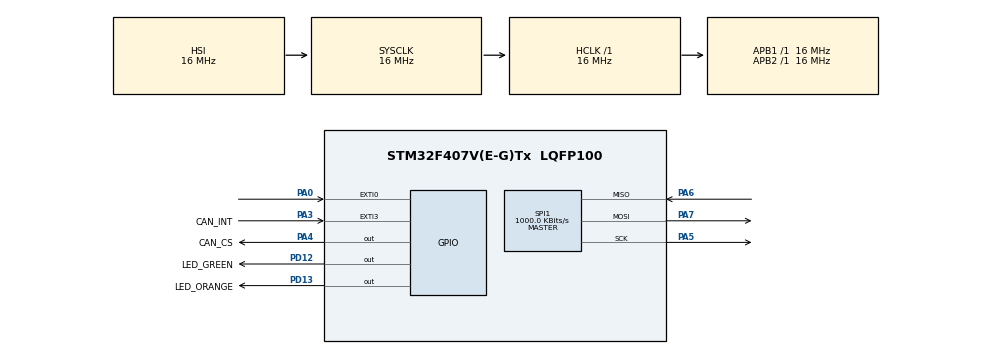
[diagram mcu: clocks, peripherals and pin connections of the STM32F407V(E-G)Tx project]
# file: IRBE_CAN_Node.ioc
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Mcu.Family=STM32F4
Mcu.Name=STM32F407V(E-G)Tx
Mcu.Package=LQFP100
NVIC.EXTI0_IRQn=true\:2\:0\:true\:false\:true\:true\:true\:true
NVIC.EXTI3_IRQn=true\:3\:0\:true\:false\:true\:true\:true\:true
NVIC.PriorityGroup=NVIC_PRIORITYGROUP_4
PA0-WKUP.GPIO_ModeDefaultEXTI=GPIO_MODE_IT_FALLING
PA0-WKUP.GPIO_PuPd=GPIO_PULLUP
PA0-WKUP.Signal=GPXTI0
PA13.Mode=Serial_Wire
PA13.Signal=SYS_JTMS-SWDIO
PA14.Mode=Serial_Wire
PA14.Signal=SYS_JTCK-SWCLK
PA3.GPIO_Label=CAN_INT
PA3.Signal=GPXTI3
PA4.GPIO_Label=CAN_CS
PA4.PinState=GPIO_PIN_SET
PA4.Signal=GPIO_Output
PA5.Mode=Full_Duplex_Master
PA5.Signal=SPI1_SCK
PA6.Mode=Full_Duplex_Master
PA6.Signal=SPI1_MISO
PA7.Mode=Full_Duplex_Master
PA7.Signal=SPI1_MOSI
PD12.GPIO_Label=LED_GREEN
PD12.Signal=GPIO_Output
PD13.GPIO_Label=LED_ORANGE
PD13.Signal=GPIO_Output
PH0-OSC_IN.Mode=HSE-External-Oscillator
PH0-OSC_IN.Signal=RCC_OSC_IN
PH1-OSC_OUT.Mode=HSE-External-Oscillator
PH1-OSC_OUT.Signal=RCC_OSC_OUT
ProjectManager.HeapSize=0x200
ProjectManager.StackSize=0x400
ProjectManager.TargetToolchain=STM32CubeIDE
RCC.AHBFreq_Value=16000000
RCC.APB1Freq_Value=16000000
RCC.APB2Freq_Value=16000000
RCC.CortexFreq_Value=16000000
RCC.HSE_VALUE=25000000
RCC.HSI_VALUE=16000000
RCC.LSE_VALUE=32768
RCC.SYSCLKFreq_VALUE=16000000
RCC.VCOOutputFreq_Value=192000000
SPI1.BaudRatePrescaler=SPI_BAUDRATEPRESCALER_16
SPI1.CalculateBaudRate=1000.0 KBits/s
SPI1.Direction=SPI_DIRECTION_2LINES
SPI1.Mode=SPI_MODE_MASTER
SPI1.VirtualType=VM_MASTER
board=custom

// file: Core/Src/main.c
/* USER CODE BEGIN Header */
/**
  ******************************************************************************
  * @file           : main.c
  * @brief          : Main program body
  ******************************************************************************
  * @attention
  *
  * Copyright (c) 2025 STMicroelectronics.
  * All rights reserved.
  *
  * This software is licensed under terms that can be found in the LICENSE file
  * in the root directory of this software component.
  * If no LICENSE file comes with this software, it is provided AS-IS.
  *
  ******************************************************************************
  */
/* USER CODE END Header */
#include "main.h"

/* USER CODE BEGIN Includes */
#include "MCP2515.h"
#include "CANSPI.h"
/* USER CODE END Includes */

SPI_HandleTypeDef hspi1;

/* USER CODE BEGIN PV */
uint8_t button_state = 0;
uint8_t rxMessageFlag = 0;

uCAN_MSG txMessage;
uCAN_MSG rxMessage;

char sstr[8];  	// tmp variable to store rx/tx message
char snum[8];	// tmp variable to store rx/tx message

/* USER CODE END PV */

void SystemClock_Config(void);
static void MX_GPIO_Init(void);
static void MX_SPI1_Init(void);

int main(void)
{

  /* MCU Configuration--------------------------------------------------------*/

  /* Reset of all peripherals, Initializes the Flash interface and the Systick. */
  HAL_Init();

  /* Configure the system clock */
  SystemClock_Config();

  /* Initialize all configured peripherals */
  MX_GPIO_Init();
  MX_SPI1_Init();
  /* USER CODE BEGIN 2 */
  CANSPI_Initialize();
  /* USER CODE END 2 */

  /* Infinite loop */
  /* USER CODE BEGIN WHILE */
  while (1)
  {
	  if(button_state == 1)
	  {
		  txMessage.frame.idType = dSTANDARD_CAN_MSG_ID_2_0B;
		  txMessage.frame.id = 0x03; //  ID can be between Hex1 and Hex7FF (1-2047 decimal)
		  txMessage.frame.dlc = 8;
		  txMessage.frame.data0 = sstr[0];
		  txMessage.frame.data1 = sstr[1];
		  txMessage.frame.data2 = sstr[2];
		  txMessage.frame.data3 = sstr[3];
		  txMessage.frame.data4 = sstr[4];
		  txMessage.frame.data5 = sstr[5];
		  txMessage.frame.data6 = sstr[6];
		  txMessage.frame.data7 = sstr[7];

		  CANSPI_Transmit(&txMessage);

		  HAL_GPIO_WritePin(GPIOD ,LED_ORANGE_Pin, GPIO_PIN_SET);
		  HAL_Delay(500);
		  HAL_GPIO_WritePin(GPIOD ,LED_ORANGE_Pin, GPIO_PIN_RESET);
		  button_state = 0;
	  }

	  if(rxMessageFlag == 1)
	  {
		  if(CANSPI_Receive(&rxMessage))
		  {
			  for(int i = 0; i < 4; i++)
			  {
				  HAL_GPIO_TogglePin(GPIOD ,LED_GREEN_Pin);
				  HAL_Delay(250);
			  }

			  sstr[0] = rxMessage.frame.data0;
			  sstr[1] = rxMessage.frame.data1;
			  sstr[2] = rxMessage.frame.data2;
			  sstr[3] = rxMessage.frame.data3;
			  sstr[4] = rxMessage.frame.data4;
			  sstr[5] = rxMessage.frame.data5;
			  sstr[6] = rxMessage.frame.data6;
			  sstr[7] = rxMessage.frame.data7;

			  rxMessageFlag = 0;
		  }
	  }

    /* USER CODE END WHILE */

  }
}

void SystemClock_Config(void)
{
  RCC_OscInitTypeDef RCC_OscInitStruct = {0};
  RCC_ClkInitTypeDef RCC_ClkInitStruct = {0};

  /** Configure the main internal regulator output voltage
  */
  __HAL_RCC_PWR_CLK_ENABLE();
  __HAL_PWR_VOLTAGESCALING_CONFIG(PWR_REGULATOR_VOLTAGE_SCALE1);

  /** Initializes the RCC Oscillators according to the specified parameters
  * in the RCC_OscInitTypeDef structure.
  */
  RCC_OscInitStruct.OscillatorType = RCC_OSCILLATORTYPE_HSI;
  RCC_OscInitStruct.HSIState = RCC_HSI_ON;
  RCC_OscInitStruct.HSICalibrationValue = RCC_HSICALIBRATION_DEFAULT;
  RCC_OscInitStruct.PLL.PLLState = RCC_PLL_NONE;
  if (HAL_RCC_OscConfig(&RCC_OscInitStruct) != HAL_OK)
  {
    Error_Handler();
  }

  /** Initializes the CPU, AHB and APB buses clocks
  */
  RCC_ClkInitStruct.ClockType = RCC_CLOCKTYPE_HCLK|RCC_CLOCKTYPE_SYSCLK
                              |RCC_CLOCKTYPE_PCLK1|RCC_CLOCKTYPE_PCLK2;
  RCC_ClkInitStruct.SYSCLKSource = RCC_SYSCLKSOURCE_HSI;
  RCC_ClkInitStruct.AHBCLKDivider = RCC_SYSCLK_DIV1;
  RCC_ClkInitStruct.APB1CLKDivider = RCC_HCLK_DIV1;
  RCC_ClkInitStruct.APB2CLKDivider = RCC_HCLK_DIV1;

  if (HAL_RCC_ClockConfig(&RCC_ClkInitStruct, FLASH_LATENCY_0) != HAL_OK)
  {
    Error_Handler();
  }
}

static void MX_SPI1_Init(void)
{

  /* SPI1 parameter configuration*/
  hspi1.Instance = SPI1;
  hspi1.Init.Mode = SPI_MODE_MASTER;
  hspi1.Init.Direction = SPI_DIRECTION_2LINES;
  hspi1.Init.DataSize = SPI_DATASIZE_8BIT;
  hspi1.Init.CLKPolarity = SPI_POLARITY_LOW;
  hspi1.Init.CLKPhase = SPI_PHASE_1EDGE;
  hspi1.Init.NSS = SPI_NSS_SOFT;
  hspi1.Init.BaudRatePrescaler = SPI_BAUDRATEPRESCALER_16;
  hspi1.Init.FirstBit = SPI_FIRSTBIT_MSB;
  hspi1.Init.TIMode = SPI_TIMODE_DISABLE;
  hspi1.Init.CRCCalculation = SPI_CRCCALCULATION_DISABLE;
  hspi1.Init.CRCPolynomial = 10;
  if (HAL_SPI_Init(&hspi1) != HAL_OK)
  {
    Error_Handler();
  }

}

static void MX_GPIO_Init(void)
{
  GPIO_InitTypeDef GPIO_InitStruct = {0};

  /* GPIO Ports Clock Enable */
  __HAL_RCC_GPIOH_CLK_ENABLE();
  __HAL_RCC_GPIOA_CLK_ENABLE();
  __HAL_RCC_GPIOD_CLK_ENABLE();

  /*Configure GPIO pin Output Level */
  HAL_GPIO_WritePin(CAN_CS_GPIO_Port, CAN_CS_Pin, GPIO_PIN_SET);

  /*Configure GPIO pin Output Level */
  HAL_GPIO_WritePin(GPIOD, LED_GREEN_Pin|LED_ORANGE_Pin, GPIO_PIN_RESET);

  /*Configure GPIO pin : PA0 */
  GPIO_InitStruct.Pin = GPIO_PIN_0;
  GPIO_InitStruct.Mode = GPIO_MODE_IT_FALLING;
  GPIO_InitStruct.Pull = GPIO_PULLUP;
  HAL_GPIO_Init(GPIOA, &GPIO_InitStruct);

  /*Configure GPIO pin : CAN_INT_Pin */
  GPIO_InitStruct.Pin = CAN_INT_Pin;
  GPIO_InitStruct.Mode = GPIO_MODE_IT_RISING;
  GPIO_InitStruct.Pull = GPIO_NOPULL;
  HAL_GPIO_Init(CAN_INT_GPIO_Port, &GPIO_InitStruct);

  /*Configure GPIO pin : CAN_CS_Pin */
  GPIO_InitStruct.Pin = CAN_CS_Pin;
  GPIO_InitStruct.Mode = GPIO_MODE_OUTPUT_PP;
  GPIO_InitStruct.Pull = GPIO_NOPULL;
  GPIO_InitStruct.Speed = GPIO_SPEED_FREQ_LOW;
  HAL_GPIO_Init(CAN_CS_GPIO_Port, &GPIO_InitStruct);

  /*Configure GPIO pins : LED_GREEN_Pin LED_ORANGE_Pin */
  GPIO_InitStruct.Pin = LED_GREEN_Pin|LED_ORANGE_Pin;
  GPIO_InitStruct.Mode = GPIO_MODE_OUTPUT_PP;
  GPIO_InitStruct.Pull = GPIO_NOPULL;
  GPIO_InitStruct.Speed = GPIO_SPEED_FREQ_LOW;
  HAL_GPIO_Init(GPIOD, &GPIO_InitStruct);

  /* EXTI interrupt init*/
  HAL_NVIC_SetPriority(EXTI0_IRQn, 2, 0);
  HAL_NVIC_EnableIRQ(EXTI0_IRQn);

  HAL_NVIC_SetPriority(EXTI3_IRQn, 3, 0);
  HAL_NVIC_EnableIRQ(EXTI3_IRQn);

}

/* USER CODE BEGIN 4 */

void HAL_GPIO_EXTI_Callback(uint16_t GPIO_Pin)
{
    if (GPIO_Pin == GPIO_PIN_0)
    {
    	button_state = 1;

    }
    if (GPIO_Pin == CAN_INT_Pin)
    {
    	rxMessageFlag = 1;

    }

}

/* USER CODE END 4 */

void Error_Handler(void)
{
  __disable_irq();
  while (1)
  {
  }
}
